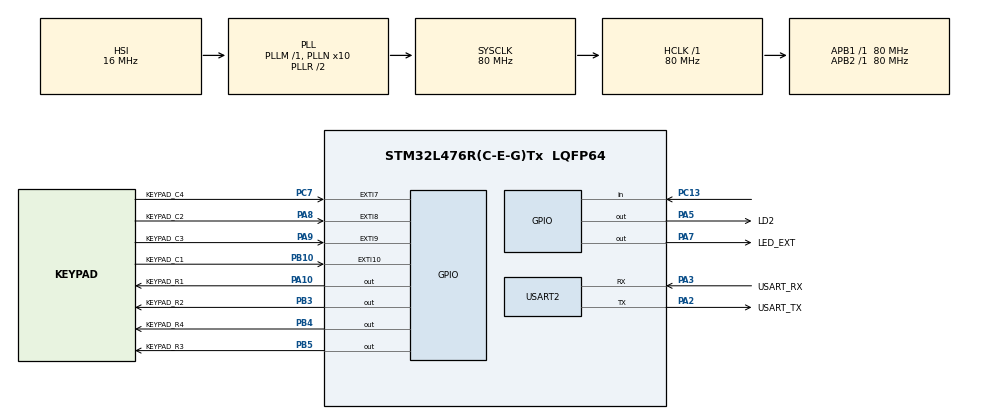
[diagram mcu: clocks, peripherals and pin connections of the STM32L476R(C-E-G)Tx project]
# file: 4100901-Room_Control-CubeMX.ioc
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Mcu.Family=STM32L4
Mcu.Name=STM32L476R(C-E-G)Tx
Mcu.Package=LQFP64
NVIC.EXTI15_10_IRQn=true\:0\:0\:false\:false\:true\:true\:true\:true
NVIC.EXTI9_5_IRQn=true\:0\:0\:false\:false\:true\:true\:true\:true
NVIC.PriorityGroup=NVIC_PRIORITYGROUP_4
NVIC.USART2_IRQn=true\:0\:0\:false\:false\:true\:true\:true\:true
PA10.GPIO_Label=KEYPAD_R1
PA10.Signal=GPIO_Output
PA13\ (JTMS-SWDIO).GPIO_Label=TMS
PA13\ (JTMS-SWDIO).Mode=Serial_Wire
PA13\ (JTMS-SWDIO).Signal=SYS_JTMS-SWDIO
PA14\ (JTCK-SWCLK).GPIO_Label=TCK
PA14\ (JTCK-SWCLK).Mode=Serial_Wire
PA14\ (JTCK-SWCLK).Signal=SYS_JTCK-SWCLK
PA2.GPIO_Label=USART_TX
PA2.GPIO_Mode=GPIO_MODE_AF_PP
PA2.GPIO_PuPd=GPIO_NOPULL
PA2.GPIO_Speed=GPIO_SPEED_FREQ_VERY_HIGH
PA2.Mode=Asynchronous
PA2.Signal=USART2_TX
PA3.GPIO_Label=USART_RX
PA3.GPIO_Mode=GPIO_MODE_AF_PP
PA3.GPIO_PuPd=GPIO_NOPULL
PA3.GPIO_Speed=GPIO_SPEED_FREQ_VERY_HIGH
PA3.Mode=Asynchronous
PA3.Signal=USART2_RX
PA5.GPIO_Label=LD2
PA5.GPIO_ModeDefaultOutputPP=GPIO_MODE_OUTPUT_PP
PA5.GPIO_PuPd=GPIO_NOPULL
PA5.GPIO_Speed=GPIO_SPEED_FREQ_LOW
PA5.Signal=GPIO_Output
PA7.GPIO_Label=LED_EXT
PA7.Signal=GPIO_Output
PA8.GPIO_Label=KEYPAD_C2
PA8.GPIO_ModeDefaultEXTI=GPIO_MODE_IT_FALLING
PA8.GPIO_PuPd=GPIO_PULLUP
PA8.Signal=GPXTI8
PA9.GPIO_Label=KEYPAD_C3
PA9.GPIO_ModeDefaultEXTI=GPIO_MODE_IT_FALLING
PA9.GPIO_PuPd=GPIO_PULLUP
PA9.Signal=GPXTI9
PB10.GPIO_Label=KEYPAD_C1
PB10.GPIO_ModeDefaultEXTI=GPIO_MODE_IT_FALLING
PB10.GPIO_PuPd=GPIO_PULLUP
PB10.Signal=GPXTI10
PB3\ (JTDO-TRACESWO).GPIO_Label=KEYPAD_R2
PB3\ (JTDO-TRACESWO).Signal=GPIO_Output
PB4\ (NJTRST).GPIO_Label=KEYPAD_R4
PB4\ (NJTRST).Signal=GPIO_Output
PB5.GPIO_Label=KEYPAD_R3
PB5.Signal=GPIO_Output
PC13.Signal=GPIO_Input
PC14-OSC32_IN\ (PC14).Mode=LSE-External-Oscillator
PC14-OSC32_IN\ (PC14).Signal=RCC_OSC32_IN
PC15-OSC32_OUT\ (PC15).Mode=LSE-External-Oscillator
PC15-OSC32_OUT\ (PC15).Signal=RCC_OSC32_OUT
PC7.GPIO_Label=KEYPAD_C4
PC7.GPIO_ModeDefaultEXTI=GPIO_MODE_IT_FALLING
PC7.GPIO_PuPd=GPIO_PULLUP
PC7.Signal=GPXTI7
PH0-OSC_IN\ (PH0).Signal=RCC_OSC_IN
PH1-OSC_OUT\ (PH1).Signal=RCC_OSC_OUT
ProjectManager.HeapSize=0x200
ProjectManager.StackSize=0x400
ProjectManager.TargetToolchain=CMake
RCC.ADCFreq_Value=64000000
RCC.AHBFreq_Value=80000000
RCC.APB1Freq_Value=80000000
RCC.APB1TimFreq_Value=80000000
RCC.APB2Freq_Value=80000000
RCC.APB2TimFreq_Value=80000000
RCC.CortexFreq_Value=80000000
RCC.HCLKFreq_Value=80000000
RCC.HSE_VALUE=8000000
RCC.HSI_VALUE=16000000
RCC.MSI_VALUE=4000000
RCC.PLLN=10
RCC.PLLSourceVirtual=RCC_PLLSOURCE_HSI
RCC.PREFETCH_ENABLE=1
RCC.SYSCLKFreq_VALUE=80000000
RCC.SYSCLKSource=RCC_SYSCLKSOURCE_PLLCLK
RCC.USBFreq_Value=64000000
RCC.VCOOutputFreq_Value=160000000
USART2.VirtualMode-Asynchronous=VM_ASYNC
board=NUCLEO-L476RG

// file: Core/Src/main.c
/* USER CODE BEGIN Header */
/**
  ******************************************************************************
  * @file           : main.c
  * @brief          : Main program body
  ******************************************************************************
  * @attention
  *
  * Copyright (c) 2025 STMicroelectronics.
  * All rights reserved.
  *
  * This software is licensed under terms that can be found in the LICENSE file
  * in the root directory of this software component.
  * If no LICENSE file comes with this software, it is provided AS-IS.
  *
  ******************************************************************************
  */
/* USER CODE END Header */
#include "main.h"

/* USER CODE BEGIN Includes */
#include "led_driver.h"
#include "ring_buffer.h"
#include "keypad_driver.h"
#include "ring_buffer.h"
#include <stdio.h>
/* USER CODE END Includes */

UART_HandleTypeDef huart2;

/* USER CODE BEGIN PV */
led_handle_t led1 = {
    .port = GPIOA,
    .pin = GPIO_PIN_5
};
//implementacion para led externo PA7
led_handle_t led2 = {
    .port = GPIOA,
    .pin = GPIO_PIN_7
};
#define UART2_RX_LEN 16 // difinición del tamaño del buffer circular
uint8_t uart2_rx_buffer[UART2_RX_LEN]; //arreglo donde se guardan los datos recibidos
ring_buffer_t uart2_rx_rb; // creación buffer usando la estructura del ring buffer
uint8_t uart2_rx_data; // Variable temporal para almacenar el dato mas reciente recibido por UART

keypad_handle_t keypad = {
    .row_ports = {KEYPAD_R1_GPIO_Port, KEYPAD_R2_GPIO_Port, KEYPAD_R3_GPIO_Port, KEYPAD_R4_GPIO_Port},
    .row_pins = {KEYPAD_R1_Pin, KEYPAD_R2_Pin, KEYPAD_R3_Pin, KEYPAD_R4_Pin},
    .col_ports = {KEYPAD_C1_GPIO_Port, KEYPAD_C2_GPIO_Port, KEYPAD_C3_GPIO_Port, KEYPAD_C4_GPIO_Port},
    .col_pins = {KEYPAD_C1_Pin, KEYPAD_C2_Pin, KEYPAD_C3_Pin, KEYPAD_C4_Pin}};

#define KEYPAD_BUFFER_LEN 16
uint8_t keypad_buffer[KEYPAD_BUFFER_LEN];
ring_buffer_t keypad_rb;
/* USER CODE END PV */

void SystemClock_Config(void);
static void MX_GPIO_Init(void);
static void MX_USART2_UART_Init(void);

/* USER CODE BEGIN 0 */
/**
 * @brief Callback de recepción UART (interrupción)
 */
void HAL_UART_RxCpltCallback(UART_HandleTypeDef *huart)
{
  if (huart->Instance == USART2)
  {
    HAL_UART_Receive_IT(&huart2, &uart2_rx_data, 1);
    ring_buffer_write(&uart2_rx_rb, uart2_rx_data);
  }
}
/**
 * @brief Callback de interrupción EXTI para las columnas del keypad
 * @param GPIO_Pin Pin que generó la interrupción
 */
void HAL_GPIO_EXTI_Callback(uint16_t GPIO_Pin){
  char key = keypad_scan(&keypad, GPIO_Pin);
  if (key != '\0'){
    ring_buffer_write(&keypad_rb, (uint8_t)key);
  }
}
// ---- Control de acceso ----
static const char SECRET_PIN[4] = {'C', '0', '0', '7'}; //  clave aquí
static char pin_input[4]; // almacenamiento temporal del PIN introducido
static uint8_t pin_idx = 0;// número de teclas validas introducidas
/**
 * @brief Reinicia la entrada del PIN
 */
static void reset_pin_input(void)
{
  for (int i = 0; i < 4; ++i)
    pin_input[i] = 0; //limpia el arreglo
  pin_idx = 0; //variable tempooral para el indice del pin
}
/**
 * @brief Comprueba si el PIN introducido es correcto
 * @return 1 si es correcto, 0 si no
 */
static int pin_is_correct(void)
{
  for (int i = 0; i < 4; ++i)
  {
    if (pin_input[i] != SECRET_PIN[i])
      return 0;
  }
  return 1;
}

/**
 * @brief Parpadeo rápido en LED1 para indicar OK
 */
static void blink_ok(void)
{
  for (int i = 0; i < 3; ++i)
  {
    led_toggle(&led1);
    HAL_Delay(120);
    led_toggle(&led1);
    HAL_Delay(120);
    led_toggle(&led1);
    HAL_Delay(120);
  }
}
/**
 * @brief Parpadeo lento en LED2 para indicar ERROR
 */
static void blink_error(void)
{ // 2 destellos lentos en LED2
  for (int i = 0; i < 2; ++i)
  {
    led_toggle(&led2);
    HAL_Delay(300);
    led_toggle(&led2);
    HAL_Delay(300);
  }
}
/* USER CODE END 0 */

int main(void)
{

  /* MCU Configuration--------------------------------------------------------*/

  /* Reset of all peripherals, Initializes the Flash interface and the Systick. */
  HAL_Init();

  /* Configure the system clock */
  SystemClock_Config();

  /* Initialize all configured peripherals */
  MX_GPIO_Init();
  MX_USART2_UART_Init();
  /* USER CODE BEGIN 2 */
  led_init(&led1);
  led_init(&led2);
  ring_buffer_init(&uart2_rx_rb, uart2_rx_buffer, UART2_RX_LEN);
  HAL_UART_Receive_IT(&huart2, &uart2_rx_data, 1);
  ring_buffer_init(&keypad_rb, keypad_buffer, KEYPAD_BUFFER_LEN);
  keypad_init(&keypad);
  printf("Sistema listo. Esperando pulsaciones del teclado...\r\n");
  /* USER CODE END 2 */

  /* Infinite loop */
  /* USER CODE BEGIN WHILE */
  while (1)
  {
    uint8_t key_from_buffer;
    if (ring_buffer_read(&keypad_rb, &key_from_buffer))
    {
      char k = (char)key_from_buffer;
      printf("Tecla presionada: %c\r\n", k);
      // printf("Tecla presionada: %c\r\n", (char)key_from_buffer);
      //  Registrar la tecla si aún faltan cifras
      if (pin_idx < 4)
      {
        pin_input[pin_idx++] = k;
      }

      // ¿Ya hay 4?
      if (pin_idx == 4)
      {
        if (pin_is_correct())
        {
          printf("Acceso: ACEPTADO\r\n");
          blink_ok();
          // Aquí podrías encender un relé/LED permanente:
          // HAL_GPIO_WritePin(GPIOX, GPIO_PIN_Y, GPIO_PIN_SET);
        }
        else
        {
          printf("Acceso: ERROR\r\n");
          blink_error();
        }
        reset_pin_input(); // listo para la siguiente entrada
      }
    }

    led_toggle(&led1);
    HAL_Delay(500);
    led_toggle(&led2);
    HAL_Delay(1000);
    if (ring_buffer_count(&uart2_rx_rb) >= 5)
    {
      // If there are at least 5 bytes in the ring buffer, read and process them
      for (int i = 0; i < 5; i++)
      {
        if (ring_buffer_read(&uart2_rx_rb, &uart2_rx_data))
        {
          // Process the received data (for example, print it)
          HAL_UART_Transmit(&huart2, &uart2_rx_data, 1, HAL_MAX_DELAY);
        }
      }
    }
    /* USER CODE END WHILE */

  }
}

void SystemClock_Config(void)
{
  RCC_OscInitTypeDef RCC_OscInitStruct = {0};
  RCC_ClkInitTypeDef RCC_ClkInitStruct = {0};

  /** Configure the main internal regulator output voltage
  */
  if (HAL_PWREx_ControlVoltageScaling(PWR_REGULATOR_VOLTAGE_SCALE1) != HAL_OK)
  {
    Error_Handler();
  }

  /** Initializes the RCC Oscillators according to the specified parameters
  * in the RCC_OscInitTypeDef structure.
  */
  RCC_OscInitStruct.OscillatorType = RCC_OSCILLATORTYPE_HSI;
  RCC_OscInitStruct.HSIState = RCC_HSI_ON;
  RCC_OscInitStruct.HSICalibrationValue = RCC_HSICALIBRATION_DEFAULT;
  RCC_OscInitStruct.PLL.PLLState = RCC_PLL_ON;
  RCC_OscInitStruct.PLL.PLLSource = RCC_PLLSOURCE_HSI;
  RCC_OscInitStruct.PLL.PLLM = 1;
  RCC_OscInitStruct.PLL.PLLN = 10;
  RCC_OscInitStruct.PLL.PLLP = RCC_PLLP_DIV7;
  RCC_OscInitStruct.PLL.PLLQ = RCC_PLLQ_DIV2;
  RCC_OscInitStruct.PLL.PLLR = RCC_PLLR_DIV2;
  if (HAL_RCC_OscConfig(&RCC_OscInitStruct) != HAL_OK)
  {
    Error_Handler();
  }

  /** Initializes the CPU, AHB and APB buses clocks
  */
  RCC_ClkInitStruct.ClockType = RCC_CLOCKTYPE_HCLK|RCC_CLOCKTYPE_SYSCLK
                              |RCC_CLOCKTYPE_PCLK1|RCC_CLOCKTYPE_PCLK2;
  RCC_ClkInitStruct.SYSCLKSource = RCC_SYSCLKSOURCE_PLLCLK;
  RCC_ClkInitStruct.AHBCLKDivider = RCC_SYSCLK_DIV1;
  RCC_ClkInitStruct.APB1CLKDivider = RCC_HCLK_DIV1;
  RCC_ClkInitStruct.APB2CLKDivider = RCC_HCLK_DIV1;

  if (HAL_RCC_ClockConfig(&RCC_ClkInitStruct, FLASH_LATENCY_4) != HAL_OK)
  {
    Error_Handler();
  }
}

static void MX_USART2_UART_Init(void)
{

  huart2.Instance = USART2;
  huart2.Init.BaudRate = 115200;
  huart2.Init.WordLength = UART_WORDLENGTH_8B;
  huart2.Init.StopBits = UART_STOPBITS_1;
  huart2.Init.Parity = UART_PARITY_NONE;
  huart2.Init.Mode = UART_MODE_TX_RX;
  huart2.Init.HwFlowCtl = UART_HWCONTROL_NONE;
  huart2.Init.OverSampling = UART_OVERSAMPLING_16;
  huart2.Init.OneBitSampling = UART_ONE_BIT_SAMPLE_DISABLE;
  huart2.AdvancedInit.AdvFeatureInit = UART_ADVFEATURE_NO_INIT;
  if (HAL_UART_Init(&huart2) != HAL_OK)
  {
    Error_Handler();
  }

}

static void MX_GPIO_Init(void)
{
  GPIO_InitTypeDef GPIO_InitStruct = {0};

  /* GPIO Ports Clock Enable */
  __HAL_RCC_GPIOC_CLK_ENABLE();
  __HAL_RCC_GPIOH_CLK_ENABLE();
  __HAL_RCC_GPIOA_CLK_ENABLE();
  __HAL_RCC_GPIOB_CLK_ENABLE();

  /*Configure GPIO pin Output Level */
  HAL_GPIO_WritePin(GPIOA, LD2_Pin|LED_EXT_Pin|KEYPAD_R1_Pin, GPIO_PIN_RESET);

  /*Configure GPIO pin Output Level */
  HAL_GPIO_WritePin(GPIOB, KEYPAD_R2_Pin|KEYPAD_R4_Pin|KEYPAD_R3_Pin, GPIO_PIN_RESET);

  /*Configure GPIO pin : PC13 */
  GPIO_InitStruct.Pin = GPIO_PIN_13;
  GPIO_InitStruct.Mode = GPIO_MODE_INPUT;
  GPIO_InitStruct.Pull = GPIO_NOPULL;
  HAL_GPIO_Init(GPIOC, &GPIO_InitStruct);

  /*Configure GPIO pins : LD2_Pin LED_EXT_Pin KEYPAD_R1_Pin */
  GPIO_InitStruct.Pin = LD2_Pin|LED_EXT_Pin|KEYPAD_R1_Pin;
  GPIO_InitStruct.Mode = GPIO_MODE_OUTPUT_PP;
  GPIO_InitStruct.Pull = GPIO_NOPULL;
  GPIO_InitStruct.Speed = GPIO_SPEED_FREQ_LOW;
  HAL_GPIO_Init(GPIOA, &GPIO_InitStruct);

  /*Configure GPIO pin : KEYPAD_C1_Pin */
  GPIO_InitStruct.Pin = KEYPAD_C1_Pin;
  GPIO_InitStruct.Mode = GPIO_MODE_IT_FALLING;
  GPIO_InitStruct.Pull = GPIO_PULLUP;
  HAL_GPIO_Init(KEYPAD_C1_GPIO_Port, &GPIO_InitStruct);

  /*Configure GPIO pin : KEYPAD_C4_Pin */
  GPIO_InitStruct.Pin = KEYPAD_C4_Pin;
  GPIO_InitStruct.Mode = GPIO_MODE_IT_FALLING;
  GPIO_InitStruct.Pull = GPIO_PULLUP;
  HAL_GPIO_Init(KEYPAD_C4_GPIO_Port, &GPIO_InitStruct);

  /*Configure GPIO pins : KEYPAD_C2_Pin KEYPAD_C3_Pin */
  GPIO_InitStruct.Pin = KEYPAD_C2_Pin|KEYPAD_C3_Pin;
  GPIO_InitStruct.Mode = GPIO_MODE_IT_FALLING;
  GPIO_InitStruct.Pull = GPIO_PULLUP;
  HAL_GPIO_Init(GPIOA, &GPIO_InitStruct);

  /*Configure GPIO pins : KEYPAD_R2_Pin KEYPAD_R4_Pin KEYPAD_R3_Pin */
  GPIO_InitStruct.Pin = KEYPAD_R2_Pin|KEYPAD_R4_Pin|KEYPAD_R3_Pin;
  GPIO_InitStruct.Mode = GPIO_MODE_OUTPUT_PP;
  GPIO_InitStruct.Pull = GPIO_NOPULL;
  GPIO_InitStruct.Speed = GPIO_SPEED_FREQ_LOW;
  HAL_GPIO_Init(GPIOB, &GPIO_InitStruct);

  /* EXTI interrupt init*/
  HAL_NVIC_SetPriority(EXTI9_5_IRQn, 0, 0);
  HAL_NVIC_EnableIRQ(EXTI9_5_IRQn);

  HAL_NVIC_SetPriority(EXTI15_10_IRQn, 0, 0);
  HAL_NVIC_EnableIRQ(EXTI15_10_IRQn);

}

/* USER CODE BEGIN 4 */
int _write(int file, char *ptr, int len)
{
  HAL_UART_Transmit(&huart2, (uint8_t *)ptr, len, HAL_MAX_DELAY);
  return len;
}
/* USER CODE END 4 */

void Error_Handler(void)
{
  __disable_irq();
  while (1)
  {
  }
}
